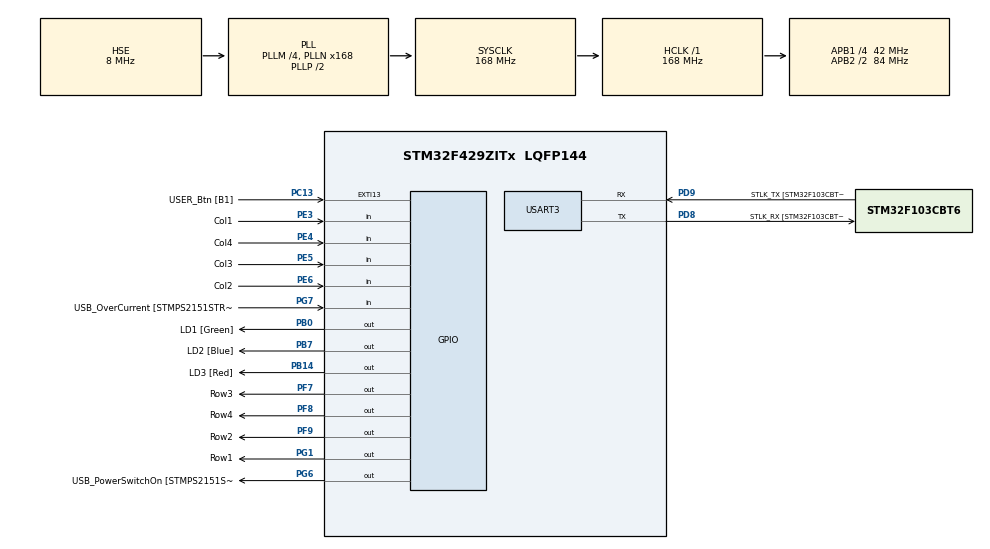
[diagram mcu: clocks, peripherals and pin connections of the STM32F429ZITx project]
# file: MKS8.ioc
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Mcu.Family=STM32F4
Mcu.Name=STM32F429ZITx
Mcu.Package=LQFP144
NVIC.PriorityGroup=NVIC_PRIORITYGROUP_4
NVIC.TIM3_IRQn=true\:0\:0\:false\:false\:true\:true\:true\:true
PA1.GPIO_Label=RMII_REF_CLK [LAN8742A-CZ-TR_REFCLK0]
PA1.Signal=ETH_REF_CLK
PA10.GPIO_Label=USB_ID
PA10.Signal=USB_OTG_FS_ID
PA11.GPIO_Label=USB_DM
PA11.Signal=USB_OTG_FS_DM
PA12.GPIO_Label=USB_DP
PA12.Signal=USB_OTG_FS_DP
PA13.GPIO_Label=TMS
PA13.Mode=Serial_Wire
PA13.Signal=SYS_JTMS-SWDIO
PA14.GPIO_Label=TCK
PA14.Mode=Serial_Wire
PA14.Signal=SYS_JTCK-SWCLK
PA2.GPIO_Label=RMII_MDIO [LAN8742A-CZ-TR_MDIO]
PA2.Signal=ETH_MDIO
PA7.GPIO_Label=RMII_CRS_DV [LAN8742A-CZ-TR_CRS_DV]
PA7.Signal=ETH_CRS_DV
PA8.GPIO_Label=USB_SOF [TP1]
PA8.Signal=USB_OTG_FS_SOF
PA9.GPIO_Label=USB_VBUS
PA9.Signal=USB_OTG_FS_VBUS
PB0.GPIO_Label=LD1 [Green]
PB0.Signal=GPIO_Output
PB13.GPIO_Label=RMII_TXD1 [LAN8742A-CZ-TR_TXD1]
PB13.Signal=ETH_TXD1
PB14.GPIO_Label=LD3 [Red]
PB14.Signal=GPIO_Output
PB7.GPIO_Label=LD2 [Blue]
PB7.Signal=GPIO_Output
PC1.GPIO_Label=RMII_MDC [LAN8742A-CZ-TR_MDC]
PC1.Signal=ETH_MDC
PC13.GPIO_Label=USER_Btn [B1]
PC13.Signal=GPXTI13
PC14/OSC32_IN.Mode=LSE-External-Oscillator
PC14/OSC32_IN.Signal=RCC_OSC32_IN
PC15/OSC32_OUT.Mode=LSE-External-Oscillator
PC15/OSC32_OUT.Signal=RCC_OSC32_OUT
PC4.GPIO_Label=RMII_RXD0 [LAN8742A-CZ-TR_RXD0]
PC4.Signal=ETH_RXD0
PC5.GPIO_Label=RMII_RXD1 [LAN8742A-CZ-TR_RXD1]
PC5.Signal=ETH_RXD1
PD8.GPIO_Label=STLK_RX [STM32F103CBT6_PA3]
PD8.Mode=Asynchronous
PD8.Signal=USART3_TX
PD9.GPIO_Label=STLK_TX [STM32F103CBT6_PA2]
PD9.Mode=Asynchronous
PD9.Signal=USART3_RX
PE3.GPIO_Label=Col1
PE3.GPIO_PuPd=GPIO_PULLUP
PE3.Signal=GPIO_Input
PE4.GPIO_Label=Col4
PE4.GPIO_PuPd=GPIO_PULLUP
PE4.Signal=GPIO_Input
PE5.GPIO_Label=Col3
PE5.GPIO_PuPd=GPIO_PULLUP
PE5.Signal=GPIO_Input
PE6.GPIO_Label=Col2
PE6.GPIO_PuPd=GPIO_PULLUP
PE6.Signal=GPIO_Input
PF7.GPIO_Label=Row3
PF7.GPIO_ModeDefaultOutputPP=GPIO_MODE_OUTPUT_OD
PF7.GPIO_PuPd=GPIO_NOPULL
PF7.Signal=GPIO_Output
PF8.GPIO_Label=Row4
PF8.GPIO_ModeDefaultOutputPP=GPIO_MODE_OUTPUT_OD
PF8.GPIO_PuPd=GPIO_NOPULL
PF8.Signal=GPIO_Output
PF9.GPIO_Label=Row2
PF9.GPIO_ModeDefaultOutputPP=GPIO_MODE_OUTPUT_OD
PF9.GPIO_PuPd=GPIO_NOPULL
PF9.Signal=GPIO_Output
PG1.GPIO_Label=Row1
PG1.GPIO_ModeDefaultOutputPP=GPIO_MODE_OUTPUT_OD
PG1.GPIO_PuPd=GPIO_NOPULL
PG1.Signal=GPIO_Output
PG11.GPIO_Label=RMII_TX_EN [LAN8742A-CZ-TR_TXEN]
PG11.Signal=ETH_TX_EN
PG13.GPIO_Label=RMII_TXD0 [LAN8742A-CZ-TR_TXD0]
PG13.Signal=ETH_TXD0
PG6.GPIO_Label=USB_PowerSwitchOn [STMPS2151STR_EN]
PG6.Signal=GPIO_Output
PG7.GPIO_Label=USB_OverCurrent [STMPS2151STR_FAULT]
PG7.Signal=GPIO_Input
PH0/OSC_IN.GPIO_Label=MCO [STM32F103CBT6_PA8]
PH0/OSC_IN.Mode=HSE-External-Clock-Source
PH0/OSC_IN.Signal=RCC_OSC_IN
PH1/OSC_OUT.Mode=HSE-External-Clock-Source
PH1/OSC_OUT.Signal=RCC_OSC_OUT
ProjectManager.HeapSize=0x200
ProjectManager.StackSize=0x400
ProjectManager.TargetToolchain=STM32CubeIDE
RCC.48MHZClocksFreq_Value=48000000
RCC.AHBFreq_Value=168000000
RCC.APB1CLKDivider=RCC_HCLK_DIV4
RCC.APB1Freq_Value=42000000
RCC.APB1TimFreq_Value=84000000
RCC.APB2CLKDivider=RCC_HCLK_DIV2
RCC.APB2Freq_Value=84000000
RCC.APB2TimCLKDivider=2
RCC.APB2TimFreq_Value=168000000
RCC.CortexFreq_Value=168000000
RCC.HCLKFreq_Value=168000000
RCC.HSE_VALUE=8000000
RCC.HSI_VALUE=16000000
RCC.PLLM=4
RCC.PLLMUL=RCC_PLL_MUL9
RCC.PLLN=168
RCC.PLLQ=7
RCC.PLLSourceVirtual=RCC_PLLSOURCE_HSE
RCC.PRESCALERUSB=RCC_USBCLKSOURCE_PLL_DIV1_5
RCC.SYSCLKFreq_VALUE=168000000
RCC.SYSCLKSource=RCC_SYSCLKSOURCE_PLLCLK
RCC.SYSCLKSourceVirtual=RCC_SYSCLKSOURCE_PLLCLK
RCC.USBFreq_Value=48000000
RCC.VCOOutputFreq_Value=336000000
TIM3.AutoReloadPreload=TIM_AUTORELOAD_PRELOAD_DISABLE
TIM3.Period=99
TIM3.Prescaler=8399
USART3.VirtualMode=VM_ASYNC
VP_TIM3_VS_ClockSourceINT.Mode=Internal
board=NUCLEO-F429ZI

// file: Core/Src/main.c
/* USER CODE BEGIN Header */
/**
  ******************************************************************************
  * @file           : main.c
  * @brief          : Main program body
  ******************************************************************************
  * @attention
  *
  * Copyright (c) 2025 STMicroelectronics.
  * All rights reserved.
  *
  * This software is licensed under terms that can be found in the LICENSE file
  * in the root directory of this software component.
  * If no LICENSE file comes with this software, it is provided AS-IS.
  *
  ******************************************************************************
  */
/* USER CODE END Header */
#include "main.h"

/* USER CODE BEGIN Includes */
#include <stdio.h>
/* USER CODE END Includes */

TIM_HandleTypeDef htim3;

UART_HandleTypeDef huart3;

/* USER CODE BEGIN PV */

static volatile char key;
static int pos = 0;
volatile const char unlock_code[] = "7932#";
volatile char entered_code[6] = "";
static int last_key_time = 0;

/* USER CODE END PV */

void SystemClock_Config(void);
static void MX_GPIO_Init(void);
static void MX_USART3_UART_Init(void);
static void MX_TIM3_Init(void);

/* USER CODE BEGIN 0 */
int __io_putchar(int ch)
{
	ITM_SendChar(ch);
	return 0;
}
/* USER CODE END 0 */

int main(void)
{

  /* MCU Configuration--------------------------------------------------------*/

  /* Reset of all peripherals, Initializes the Flash interface and the Systick. */
  HAL_Init();

  /* Configure the system clock */
  SystemClock_Config();

  /* Initialize all configured peripherals */
  MX_GPIO_Init();
  MX_USART3_UART_Init();
  MX_TIM3_Init();
  /* USER CODE BEGIN 2 */
  HAL_TIM_Base_Start_IT(&htim3);
  /* USER CODE END 2 */

  /* Infinite loop */
  /* USER CODE BEGIN WHILE */
  while (1)
  {
	  /*HAL_GPIO_TogglePin(LD1_GPIO_Port, LD1_Pin);
	  HAL_Delay(250);
	  printf("Hello :D \n");*/

	  if (key != 0) {
	      printf("pressed '%c'\n", key);
	      last_key_time = HAL_GetTick();

	      if (key == '#') {
	    	  entered_code[pos++] = key;
	          entered_code[pos] = '\0';  // terminate string
	          if (strcmp(unlock_code, entered_code) == 0) {
	              printf("Unlocked, yaay! \n");
	              HAL_GPIO_TogglePin(LD1_GPIO_Port, LD1_Pin);
	              HAL_Delay(2000);
	              HAL_GPIO_TogglePin(LD1_GPIO_Port, LD1_Pin);
	          } else {
	              printf("Wrong code :( \n");
	              //printf("Comparing '%s' with '%s'\n", entered_code, unlock_code);
	          }
	          pos = 0;  // reset for next attempt
	      } else {
	          if (pos < sizeof(entered_code) - 1) {
	              entered_code[pos++] = key;
	          }
	      }
	      HAL_Delay(500);
	      key = 0;
	  }
	  if (pos > 0 && (HAL_GetTick() - last_key_time > 5000)) {
	      printf("Timeout! Resetting entered code.\n");
	      pos = 0;
	  }
    /* USER CODE END WHILE */

  }
}

void SystemClock_Config(void)
{
  RCC_OscInitTypeDef RCC_OscInitStruct = {0};
  RCC_ClkInitTypeDef RCC_ClkInitStruct = {0};

  /** Configure the main internal regulator output voltage
  */
  __HAL_RCC_PWR_CLK_ENABLE();
  __HAL_PWR_VOLTAGESCALING_CONFIG(PWR_REGULATOR_VOLTAGE_SCALE1);

  /** Initializes the RCC Oscillators according to the specified parameters
  * in the RCC_OscInitTypeDef structure.
  */
  RCC_OscInitStruct.OscillatorType = RCC_OSCILLATORTYPE_HSE;
  RCC_OscInitStruct.HSEState = RCC_HSE_BYPASS;
  RCC_OscInitStruct.PLL.PLLState = RCC_PLL_ON;
  RCC_OscInitStruct.PLL.PLLSource = RCC_PLLSOURCE_HSE;
  RCC_OscInitStruct.PLL.PLLM = 4;
  RCC_OscInitStruct.PLL.PLLN = 168;
  RCC_OscInitStruct.PLL.PLLP = RCC_PLLP_DIV2;
  RCC_OscInitStruct.PLL.PLLQ = 7;
  if (HAL_RCC_OscConfig(&RCC_OscInitStruct) != HAL_OK)
  {
    Error_Handler();
  }

  /** Initializes the CPU, AHB and APB buses clocks
  */
  RCC_ClkInitStruct.ClockType = RCC_CLOCKTYPE_HCLK|RCC_CLOCKTYPE_SYSCLK
                              |RCC_CLOCKTYPE_PCLK1|RCC_CLOCKTYPE_PCLK2;
  RCC_ClkInitStruct.SYSCLKSource = RCC_SYSCLKSOURCE_PLLCLK;
  RCC_ClkInitStruct.AHBCLKDivider = RCC_SYSCLK_DIV1;
  RCC_ClkInitStruct.APB1CLKDivider = RCC_HCLK_DIV4;
  RCC_ClkInitStruct.APB2CLKDivider = RCC_HCLK_DIV2;

  if (HAL_RCC_ClockConfig(&RCC_ClkInitStruct, FLASH_LATENCY_5) != HAL_OK)
  {
    Error_Handler();
  }
}

static void MX_TIM3_Init(void)
{

  TIM_ClockConfigTypeDef sClockSourceConfig = {0};
  TIM_MasterConfigTypeDef sMasterConfig = {0};

  htim3.Instance = TIM3;
  htim3.Init.Prescaler = 8399;
  htim3.Init.CounterMode = TIM_COUNTERMODE_UP;
  htim3.Init.Period = 99;
  htim3.Init.ClockDivision = TIM_CLOCKDIVISION_DIV1;
  htim3.Init.AutoReloadPreload = TIM_AUTORELOAD_PRELOAD_DISABLE;
  if (HAL_TIM_Base_Init(&htim3) != HAL_OK)
  {
    Error_Handler();
  }
  sClockSourceConfig.ClockSource = TIM_CLOCKSOURCE_INTERNAL;
  if (HAL_TIM_ConfigClockSource(&htim3, &sClockSourceConfig) != HAL_OK)
  {
    Error_Handler();
  }
  sMasterConfig.MasterOutputTrigger = TIM_TRGO_RESET;
  sMasterConfig.MasterSlaveMode = TIM_MASTERSLAVEMODE_DISABLE;
  if (HAL_TIMEx_MasterConfigSynchronization(&htim3, &sMasterConfig) != HAL_OK)
  {
    Error_Handler();
  }

}

static void MX_USART3_UART_Init(void)
{

  huart3.Instance = USART3;
  huart3.Init.BaudRate = 115200;
  huart3.Init.WordLength = UART_WORDLENGTH_8B;
  huart3.Init.StopBits = UART_STOPBITS_1;
  huart3.Init.Parity = UART_PARITY_NONE;
  huart3.Init.Mode = UART_MODE_TX_RX;
  huart3.Init.HwFlowCtl = UART_HWCONTROL_NONE;
  huart3.Init.OverSampling = UART_OVERSAMPLING_16;
  if (HAL_UART_Init(&huart3) != HAL_OK)
  {
    Error_Handler();
  }

}

static void MX_GPIO_Init(void)
{
  GPIO_InitTypeDef GPIO_InitStruct = {0};

  /* GPIO Ports Clock Enable */
  __HAL_RCC_GPIOE_CLK_ENABLE();
  __HAL_RCC_GPIOC_CLK_ENABLE();
  __HAL_RCC_GPIOF_CLK_ENABLE();
  __HAL_RCC_GPIOH_CLK_ENABLE();
  __HAL_RCC_GPIOA_CLK_ENABLE();
  __HAL_RCC_GPIOB_CLK_ENABLE();
  __HAL_RCC_GPIOG_CLK_ENABLE();
  __HAL_RCC_GPIOD_CLK_ENABLE();

  /*Configure GPIO pin Output Level */
  HAL_GPIO_WritePin(GPIOF, Row3_Pin|Row4_Pin|Row2_Pin, GPIO_PIN_RESET);

  /*Configure GPIO pin Output Level */
  HAL_GPIO_WritePin(GPIOB, LD1_Pin|LD3_Pin|LD2_Pin, GPIO_PIN_RESET);

  /*Configure GPIO pin Output Level */
  HAL_GPIO_WritePin(GPIOG, Row1_Pin|USB_PowerSwitchOn_Pin, GPIO_PIN_RESET);

  /*Configure GPIO pins : Col1_Pin Col4_Pin Col3_Pin Col2_Pin */
  GPIO_InitStruct.Pin = Col1_Pin|Col4_Pin|Col3_Pin|Col2_Pin;
  GPIO_InitStruct.Mode = GPIO_MODE_INPUT;
  GPIO_InitStruct.Pull = GPIO_PULLUP;
  HAL_GPIO_Init(GPIOE, &GPIO_InitStruct);

  /*Configure GPIO pin : USER_Btn_Pin */
  GPIO_InitStruct.Pin = USER_Btn_Pin;
  GPIO_InitStruct.Mode = GPIO_MODE_IT_RISING;
  GPIO_InitStruct.Pull = GPIO_NOPULL;
  HAL_GPIO_Init(USER_Btn_GPIO_Port, &GPIO_InitStruct);

  /*Configure GPIO pins : Row3_Pin Row4_Pin Row2_Pin */
  GPIO_InitStruct.Pin = Row3_Pin|Row4_Pin|Row2_Pin;
  GPIO_InitStruct.Mode = GPIO_MODE_OUTPUT_OD;
  GPIO_InitStruct.Pull = GPIO_NOPULL;
  GPIO_InitStruct.Speed = GPIO_SPEED_FREQ_LOW;
  HAL_GPIO_Init(GPIOF, &GPIO_InitStruct);

  /*Configure GPIO pins : RMII_MDC_Pin RMII_RXD0_Pin RMII_RXD1_Pin */
  GPIO_InitStruct.Pin = RMII_MDC_Pin|RMII_RXD0_Pin|RMII_RXD1_Pin;
  GPIO_InitStruct.Mode = GPIO_MODE_AF_PP;
  GPIO_InitStruct.Pull = GPIO_NOPULL;
  GPIO_InitStruct.Speed = GPIO_SPEED_FREQ_VERY_HIGH;
  GPIO_InitStruct.Alternate = GPIO_AF11_ETH;
  HAL_GPIO_Init(GPIOC, &GPIO_InitStruct);

  /*Configure GPIO pins : RMII_REF_CLK_Pin RMII_MDIO_Pin RMII_CRS_DV_Pin */
  GPIO_InitStruct.Pin = RMII_REF_CLK_Pin|RMII_MDIO_Pin|RMII_CRS_DV_Pin;
  GPIO_InitStruct.Mode = GPIO_MODE_AF_PP;
  GPIO_InitStruct.Pull = GPIO_NOPULL;
  GPIO_InitStruct.Speed = GPIO_SPEED_FREQ_VERY_HIGH;
  GPIO_InitStruct.Alternate = GPIO_AF11_ETH;
  HAL_GPIO_Init(GPIOA, &GPIO_InitStruct);

  /*Configure GPIO pins : LD1_Pin LD3_Pin LD2_Pin */
  GPIO_InitStruct.Pin = LD1_Pin|LD3_Pin|LD2_Pin;
  GPIO_InitStruct.Mode = GPIO_MODE_OUTPUT_PP;
  GPIO_InitStruct.Pull = GPIO_NOPULL;
  GPIO_InitStruct.Speed = GPIO_SPEED_FREQ_LOW;
  HAL_GPIO_Init(GPIOB, &GPIO_InitStruct);

  /*Configure GPIO pin : Row1_Pin */
  GPIO_InitStruct.Pin = Row1_Pin;
  GPIO_InitStruct.Mode = GPIO_MODE_OUTPUT_OD;
  GPIO_InitStruct.Pull = GPIO_NOPULL;
  GPIO_InitStruct.Speed = GPIO_SPEED_FREQ_LOW;
  HAL_GPIO_Init(Row1_GPIO_Port, &GPIO_InitStruct);

  /*Configure GPIO pin : RMII_TXD1_Pin */
  GPIO_InitStruct.Pin = RMII_TXD1_Pin;
  GPIO_InitStruct.Mode = GPIO_MODE_AF_PP;
  GPIO_InitStruct.Pull = GPIO_NOPULL;
  GPIO_InitStruct.Speed = GPIO_SPEED_FREQ_VERY_HIGH;
  GPIO_InitStruct.Alternate = GPIO_AF11_ETH;
  HAL_GPIO_Init(RMII_TXD1_GPIO_Port, &GPIO_InitStruct);

  /*Configure GPIO pin : USB_PowerSwitchOn_Pin */
  GPIO_InitStruct.Pin = USB_PowerSwitchOn_Pin;
  GPIO_InitStruct.Mode = GPIO_MODE_OUTPUT_PP;
  GPIO_InitStruct.Pull = GPIO_NOPULL;
  GPIO_InitStruct.Speed = GPIO_SPEED_FREQ_LOW;
  HAL_GPIO_Init(USB_PowerSwitchOn_GPIO_Port, &GPIO_InitStruct);

  /*Configure GPIO pin : USB_OverCurrent_Pin */
  GPIO_InitStruct.Pin = USB_OverCurrent_Pin;
  GPIO_InitStruct.Mode = GPIO_MODE_INPUT;
  GPIO_InitStruct.Pull = GPIO_NOPULL;
  HAL_GPIO_Init(USB_OverCurrent_GPIO_Port, &GPIO_InitStruct);

  /*Configure GPIO pins : USB_SOF_Pin USB_ID_Pin USB_DM_Pin USB_DP_Pin */
  GPIO_InitStruct.Pin = USB_SOF_Pin|USB_ID_Pin|USB_DM_Pin|USB_DP_Pin;
  GPIO_InitStruct.Mode = GPIO_MODE_AF_PP;
  GPIO_InitStruct.Pull = GPIO_NOPULL;
  GPIO_InitStruct.Speed = GPIO_SPEED_FREQ_VERY_HIGH;
  GPIO_InitStruct.Alternate = GPIO_AF10_OTG_FS;
  HAL_GPIO_Init(GPIOA, &GPIO_InitStruct);

  /*Configure GPIO pin : USB_VBUS_Pin */
  GPIO_InitStruct.Pin = USB_VBUS_Pin;
  GPIO_InitStruct.Mode = GPIO_MODE_INPUT;
  GPIO_InitStruct.Pull = GPIO_NOPULL;
  HAL_GPIO_Init(USB_VBUS_GPIO_Port, &GPIO_InitStruct);

  /*Configure GPIO pins : RMII_TX_EN_Pin RMII_TXD0_Pin */
  GPIO_InitStruct.Pin = RMII_TX_EN_Pin|RMII_TXD0_Pin;
  GPIO_InitStruct.Mode = GPIO_MODE_AF_PP;
  GPIO_InitStruct.Pull = GPIO_NOPULL;
  GPIO_InitStruct.Speed = GPIO_SPEED_FREQ_VERY_HIGH;
  GPIO_InitStruct.Alternate = GPIO_AF11_ETH;
  HAL_GPIO_Init(GPIOG, &GPIO_InitStruct);

}

/* USER CODE BEGIN 4 */
void HAL_TIM_PeriodElapsedCallback(TIM_HandleTypeDef *htim)
{
	static uint8_t row = 0;
	static const char keyboard[4][4] = {
			{ '1', '2', '3', 'A' },
			{ '4', '5', '6', 'B' },
			{ '7', '8', '9', 'C' },
			{ '*', '0', '#', 'D' },
	};
	if (key == 0) {
		if (HAL_GPIO_ReadPin(Col1_GPIO_Port, Col1_Pin) == GPIO_PIN_RESET) {
			key = keyboard[row][0];
		}
		if (HAL_GPIO_ReadPin(Col2_GPIO_Port, Col2_Pin) == GPIO_PIN_RESET) {
			key = keyboard[row][1];
		}
		if (HAL_GPIO_ReadPin(Col3_GPIO_Port, Col3_Pin) == GPIO_PIN_RESET) {
			key = keyboard[row][2];
		}
		if (HAL_GPIO_ReadPin(Col4_GPIO_Port, Col4_Pin) == GPIO_PIN_RESET) {
			key = keyboard[row][3];
		}
	}
	HAL_GPIO_WritePin(Row1_GPIO_Port, Row1_Pin, GPIO_PIN_SET);
	HAL_GPIO_WritePin(Row2_GPIO_Port, Row2_Pin, GPIO_PIN_SET);
	HAL_GPIO_WritePin(Row3_GPIO_Port, Row3_Pin, GPIO_PIN_SET);
	HAL_GPIO_WritePin(Row4_GPIO_Port, Row4_Pin, GPIO_PIN_SET);
	switch (row) {
	case 0:
		row = 1;
		HAL_GPIO_WritePin(Row2_GPIO_Port, Row2_Pin, GPIO_PIN_RESET);
		break;
	case 1:
		row = 2;
		HAL_GPIO_WritePin(Row3_GPIO_Port, Row3_Pin, GPIO_PIN_RESET);
		break;
	case 2:
		row = 3;
		HAL_GPIO_WritePin(Row4_GPIO_Port, Row4_Pin, GPIO_PIN_RESET);
		break;
	case 3:
		row = 0;
		HAL_GPIO_WritePin(Row1_GPIO_Port, Row1_Pin, GPIO_PIN_RESET);
		break;
	}
}
/* USER CODE END 4 */

void Error_Handler(void)
{
  __disable_irq();
  while (1)
  {
  }
}
